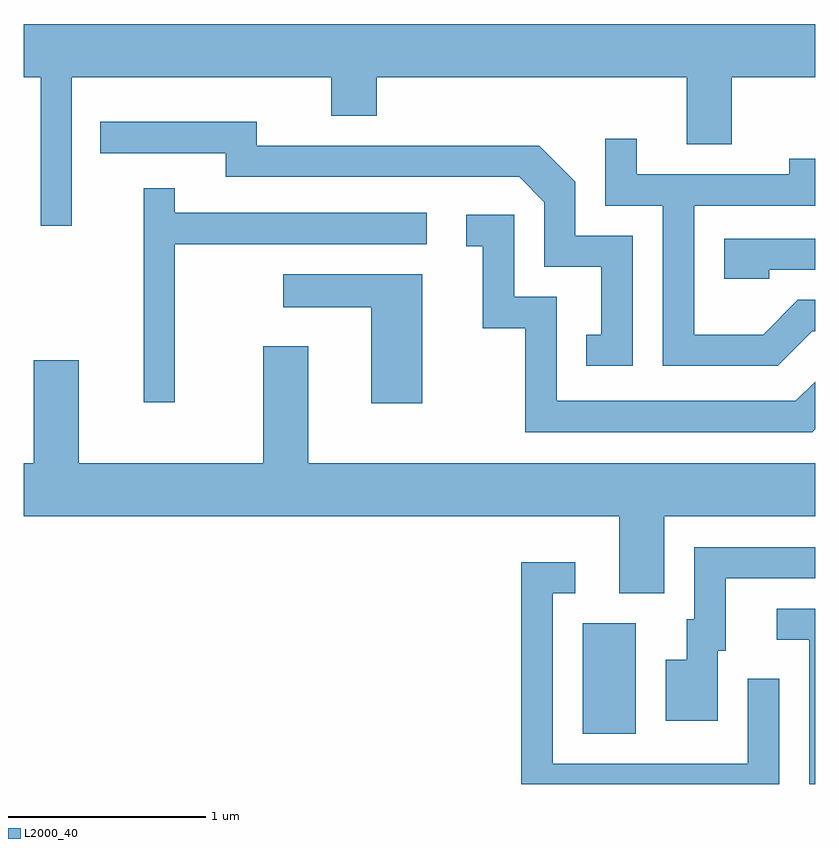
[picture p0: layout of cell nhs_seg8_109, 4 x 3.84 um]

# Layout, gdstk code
import gdstk
lib = gdstk.Library(unit=1e-6, precision=1e-09)
def R(c, l, rs):  # rectangles x0, y0, x1, y1
    for r in rs: c.add(gdstk.rectangle(r[:2], r[2:], *l))
def P(c, l, *ps):  # polygons
    for p in ps: c.add(gdstk.Polygon(p, *l))
L2000_40 = (2000, 40)

nhs_seg8_109 = lib.new_cell('nhs_seg8_109')
R(nhs_seg8_109, L2000_40, [(190.436,1888.596,190.704,1889.154)])
P(nhs_seg8_109, L2000_40, [(187.854,1891.916),(189.166,1891.916),(189.166,1891.721),(189.394,1891.721),(189.394,1891.916),(190.961,1891.916),(190.961,1891.576),(191.189,1891.576),(191.189,1891.916),(191.611,1891.916),(191.611,1892.184),(187.611,1892.184),(187.611,1891.916),(187.696,1891.916),(187.696,1891.163),(187.854,1891.163)],
  [(190.689,1891.114),(190.399,1891.114),(190.399,1891.387),(190.217,1891.569),(188.789,1891.569),(188.789,1891.689),(187.998,1891.689),(187.998,1891.531),(188.631,1891.531),(188.631,1891.411),(190.114,1891.411),(190.241,1891.284),(190.241,1890.956),(190.531,1890.956),(190.531,1890.614),(190.453,1890.614),(190.453,1890.456),(190.689,1890.456)],
  [(191.597,1890.631),(191.611,1890.631),(191.611,1890.789),(191.524,1890.789),(191.349,1890.614),(190.999,1890.614),(190.999,1891.266),(191.611,1891.266),(191.611,1891.503),(191.481,1891.503),(191.481,1891.424),(190.709,1891.424),(190.709,1891.603),(190.551,1891.603),(190.551,1891.266),(190.841,1891.266),(190.841,1890.456),(191.422,1890.456)],
  [(188.374,1891.071),(189.648,1891.071),(189.648,1891.229),(188.374,1891.229),(188.374,1891.353),(188.216,1891.353),(188.216,1890.273),(188.374,1890.273)],
  [(191.611,1890.135),(191.611,1890.376),(191.514,1890.279),(190.304,1890.279),(190.304,1890.804),(190.089,1890.804),(190.089,1891.219),(189.848,1891.219),(189.848,1891.061),(189.931,1891.061),(189.931,1890.646),(190.146,1890.646),(190.146,1890.121),(191.597,1890.121)],
  [(191.379,1890.941),(191.611,1890.941),(191.611,1891.099),(191.151,1891.099),(191.151,1890.896),(191.379,1890.896)],
  [(189.624,1890.919),(188.923,1890.919),(188.923,1890.751),(189.366,1890.751),(189.366,1890.266),(189.624,1890.266)],
  [(190.849,1889.696),(191.611,1889.696),(191.611,1889.964),(189.049,1889.964),(189.049,1890.554),(188.821,1890.554),(188.821,1889.964),(187.889,1889.964),(187.889,1890.484),(187.661,1890.484),(187.661,1889.964),(187.611,1889.964),(187.611,1889.696),(190.621,1889.696),(190.621,1889.306),(190.849,1889.306)],
  [(191.119,1889.016),(191.159,1889.016),(191.159,1889.381),(191.611,1889.381),(191.611,1889.539),(191.001,1889.539),(191.001,1889.174),(190.961,1889.174),(190.961,1888.969),(190.856,1888.969),(190.856,1888.661),(191.119,1888.661)],
  [(191.429,1888.873),(191.271,1888.873),(191.271,1888.444),(190.284,1888.444),(190.284,1889.306),(190.398,1889.306),(190.398,1889.464),(190.126,1889.464),(190.126,1888.342),(191.429,1888.342)],
  [(191.611,1889.229),(191.418,1889.229),(191.418,1889.071),(191.581,1889.071),(191.581,1888.342),(191.611,1888.342)])

lib.write_gds('nhs_seg8_109.gds')
